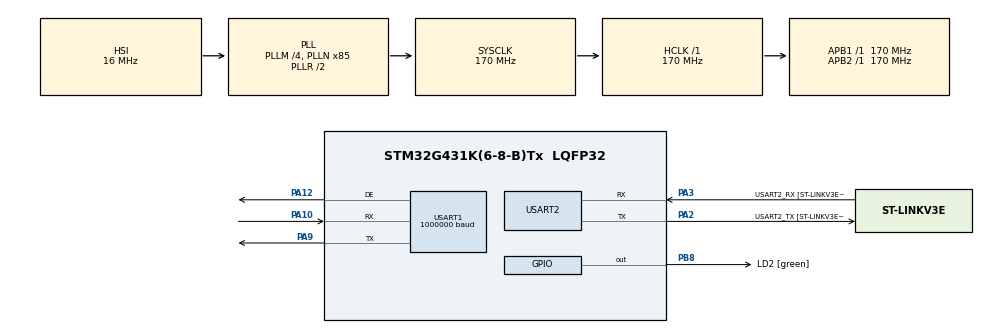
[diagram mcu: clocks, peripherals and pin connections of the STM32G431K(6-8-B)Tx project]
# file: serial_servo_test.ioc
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Mcu.Family=STM32G4
Mcu.Name=STM32G431K(6-8-B)Tx
Mcu.Package=LQFP32
NVIC.PriorityGroup=NVIC_PRIORITYGROUP_4
NVIC.USART2_IRQn=true\:0\:0\:false\:false\:true\:true\:true\:true
PA10.Mode=Asynchronous
PA10.Signal=USART1_RX
PA12.Mode=Hardware Flow Control (RS485)
PA12.Signal=USART1_DE
PA13.GPIO_Label=T_SWDIO
PA13.Mode=Serial_Wire
PA13.Signal=SYS_JTMS-SWDIO
PA14.GPIO_Label=T_SWCLK
PA14.Mode=Serial_Wire
PA14.Signal=SYS_JTCK-SWCLK
PA2.GPIO_Label=USART2_TX [ST-LINKV3E_VCP_RX]
PA2.Mode=Asynchronous
PA2.Signal=USART2_TX
PA3.GPIO_Label=USART2_RX [ST-LINKV3E_VCP_TX]
PA3.Mode=Asynchronous
PA3.Signal=USART2_RX
PA9.Mode=Asynchronous
PA9.Signal=USART1_TX
PB3.GPIO_Label=T_SWO
PB3.Signal=SYS_JTDO-SWO
PB8-BOOT0.GPIO_Label=LD2 [green]
PB8-BOOT0.Signal=GPIO_Output
ProjectManager.HeapSize=0x200
ProjectManager.StackSize=0x400
ProjectManager.TargetToolchain=STM32CubeIDE
RCC.ADC12Freq_Value=170000000
RCC.AHBFreq_Value=170000000
RCC.APB1Freq_Value=170000000
RCC.APB1TimFreq_Value=170000000
RCC.APB2Freq_Value=170000000
RCC.APB2TimFreq_Value=170000000
RCC.CortexFreq_Value=170000000
RCC.EXTERNAL_CLOCK_VALUE=12288000
RCC.HCLKFreq_Value=170000000
RCC.HSE_VALUE=8000000
RCC.HSI48_VALUE=48000000
RCC.HSI_VALUE=16000000
RCC.LSE_VALUE=32768
RCC.PLLM=RCC_PLLM_DIV4
RCC.PLLN=85
RCC.SYSCLKFreq_VALUE=170000000
RCC.SYSCLKSource=RCC_SYSCLKSOURCE_PLLCLK
RCC.USBFreq_Value=170000000
RCC.VCOOutputFreq_Value=340000000
USART1.BaudRate=1000000
USART1.VirtualMode-Asynchronous=VM_ASYNC
USART1.VirtualMode-Hardware\ Flow\ Control\ (RS485)=VM_ASYNC
USART2.VirtualMode-Asynchronous=VM_ASYNC
USART2.WordLength=WORDLENGTH_8B
board=NUCLEO-G431KB

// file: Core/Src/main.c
/* USER CODE BEGIN Header */
/**
  ******************************************************************************
  * @file           : main.c
  * @brief          : Main program body
  ******************************************************************************
  * @attention
  *
  * Copyright (c) 2023 STMicroelectronics.
  * All rights reserved.
  *
  * This software is licensed under terms that can be found in the LICENSE file
  * in the root directory of this software component.
  * If no LICENSE file comes with this software, it is provided AS-IS.
  *
  ******************************************************************************
  */
/* USER CODE END Header */
#include "main.h"

/* USER CODE BEGIN Includes */
#include "STS3215.h"
#include "mytools.h"

#include "stdlib.h"
/* USER CODE END Includes */

/* USER CODE BEGIN PD */
#define OFFSET 10
/* USER CODE END PD */

UART_HandleTypeDef huart1;
UART_HandleTypeDef huart2;

/* USER CODE BEGIN PV */
#define UARTRxBufLEN 4
uint8_t buffer[UARTRxBufLEN];
/* USER CODE END PV */

void SystemClock_Config(void);
static void MX_GPIO_Init(void);
static void MX_USART1_UART_Init(void);
static void MX_USART2_UART_Init(void);
/* USER CODE BEGIN PFP */

void open();
void close();
void rotate(int angle);

/* USER CODE END PFP */

int main(void)
{

  /* MCU Configuration--------------------------------------------------------*/

  /* Reset of all peripherals, Initializes the Flash interface and the Systick. */
  HAL_Init();

  /* Configure the system clock */
  SystemClock_Config();

  /* Initialize all configured peripherals */
  MX_GPIO_Init();
  MX_USART1_UART_Init();
  MX_USART2_UART_Init();

  /* Infinite loop */
  /* USER CODE BEGIN WHILE */
//  set_ID(&huart1, 0x02, 0x01);
  HAL_Delay(1);
  read_address(&huart1, 1, 0x37, 0x01);
  HAL_UART_Receive_IT(&huart2, buffer, UARTRxBufLEN);

// servo wo genten no ichi ni motte iku

  step_control(&huart1, 1, 0, 0x00,  0x00);
  HAL_Delay(2);
  step_control(&huart1, 2, 0, 0x00,  0x00);
  HAL_Delay(2);

  while (1)
  {
//    open();
//    HAL_Delay(1000);
//    close();
//    HAL_Delay(1000);

    /* USER CODE END WHILE */

  }
}

void SystemClock_Config(void)
{
  RCC_OscInitTypeDef RCC_OscInitStruct = {0};
  RCC_ClkInitTypeDef RCC_ClkInitStruct = {0};

  /** Configure the main internal regulator output voltage
  */
  HAL_PWREx_ControlVoltageScaling(PWR_REGULATOR_VOLTAGE_SCALE1_BOOST);

  /** Initializes the RCC Oscillators according to the specified parameters
  * in the RCC_OscInitTypeDef structure.
  */
  RCC_OscInitStruct.OscillatorType = RCC_OSCILLATORTYPE_HSI;
  RCC_OscInitStruct.HSIState = RCC_HSI_ON;
  RCC_OscInitStruct.HSICalibrationValue = RCC_HSICALIBRATION_DEFAULT;
  RCC_OscInitStruct.PLL.PLLState = RCC_PLL_ON;
  RCC_OscInitStruct.PLL.PLLSource = RCC_PLLSOURCE_HSI;
  RCC_OscInitStruct.PLL.PLLM = RCC_PLLM_DIV4;
  RCC_OscInitStruct.PLL.PLLN = 85;
  RCC_OscInitStruct.PLL.PLLP = RCC_PLLP_DIV2;
  RCC_OscInitStruct.PLL.PLLQ = RCC_PLLQ_DIV2;
  RCC_OscInitStruct.PLL.PLLR = RCC_PLLR_DIV2;
  if (HAL_RCC_OscConfig(&RCC_OscInitStruct) != HAL_OK)
  {
    Error_Handler();
  }

  /** Initializes the CPU, AHB and APB buses clocks
  */
  RCC_ClkInitStruct.ClockType = RCC_CLOCKTYPE_HCLK|RCC_CLOCKTYPE_SYSCLK
                              |RCC_CLOCKTYPE_PCLK1|RCC_CLOCKTYPE_PCLK2;
  RCC_ClkInitStruct.SYSCLKSource = RCC_SYSCLKSOURCE_PLLCLK;
  RCC_ClkInitStruct.AHBCLKDivider = RCC_SYSCLK_DIV1;
  RCC_ClkInitStruct.APB1CLKDivider = RCC_HCLK_DIV1;
  RCC_ClkInitStruct.APB2CLKDivider = RCC_HCLK_DIV1;

  if (HAL_RCC_ClockConfig(&RCC_ClkInitStruct, FLASH_LATENCY_4) != HAL_OK)
  {
    Error_Handler();
  }
}

static void MX_USART1_UART_Init(void)
{

  huart1.Instance = USART1;
  huart1.Init.BaudRate = 1000000;
  huart1.Init.WordLength = UART_WORDLENGTH_8B;
  huart1.Init.StopBits = UART_STOPBITS_1;
  huart1.Init.Parity = UART_PARITY_NONE;
  huart1.Init.Mode = UART_MODE_TX_RX;
  huart1.Init.HwFlowCtl = UART_HWCONTROL_NONE;
  huart1.Init.OverSampling = UART_OVERSAMPLING_16;
  huart1.Init.OneBitSampling = UART_ONE_BIT_SAMPLE_DISABLE;
  huart1.Init.ClockPrescaler = UART_PRESCALER_DIV1;
  huart1.AdvancedInit.AdvFeatureInit = UART_ADVFEATURE_NO_INIT;
  if (HAL_RS485Ex_Init(&huart1, UART_DE_POLARITY_HIGH, 0, 0) != HAL_OK)
  {
    Error_Handler();
  }
  if (HAL_UARTEx_SetTxFifoThreshold(&huart1, UART_TXFIFO_THRESHOLD_1_8) != HAL_OK)
  {
    Error_Handler();
  }
  if (HAL_UARTEx_SetRxFifoThreshold(&huart1, UART_RXFIFO_THRESHOLD_1_8) != HAL_OK)
  {
    Error_Handler();
  }
  if (HAL_UARTEx_DisableFifoMode(&huart1) != HAL_OK)
  {
    Error_Handler();
  }

}

static void MX_USART2_UART_Init(void)
{

  huart2.Instance = USART2;
  huart2.Init.BaudRate = 115200;
  huart2.Init.WordLength = UART_WORDLENGTH_8B;
  huart2.Init.StopBits = UART_STOPBITS_1;
  huart2.Init.Parity = UART_PARITY_NONE;
  huart2.Init.Mode = UART_MODE_TX_RX;
  huart2.Init.HwFlowCtl = UART_HWCONTROL_NONE;
  huart2.Init.OverSampling = UART_OVERSAMPLING_16;
  huart2.Init.OneBitSampling = UART_ONE_BIT_SAMPLE_DISABLE;
  huart2.Init.ClockPrescaler = UART_PRESCALER_DIV1;
  huart2.AdvancedInit.AdvFeatureInit = UART_ADVFEATURE_NO_INIT;
  if (HAL_UART_Init(&huart2) != HAL_OK)
  {
    Error_Handler();
  }
  if (HAL_UARTEx_SetTxFifoThreshold(&huart2, UART_TXFIFO_THRESHOLD_1_8) != HAL_OK)
  {
    Error_Handler();
  }
  if (HAL_UARTEx_SetRxFifoThreshold(&huart2, UART_RXFIFO_THRESHOLD_1_8) != HAL_OK)
  {
    Error_Handler();
  }
  if (HAL_UARTEx_DisableFifoMode(&huart2) != HAL_OK)
  {
    Error_Handler();
  }

}

static void MX_GPIO_Init(void)
{
  GPIO_InitTypeDef GPIO_InitStruct = {0};

  /* GPIO Ports Clock Enable */
  __HAL_RCC_GPIOA_CLK_ENABLE();
  __HAL_RCC_GPIOB_CLK_ENABLE();

  /*Configure GPIO pin Output Level */
  HAL_GPIO_WritePin(LD2_GPIO_Port, LD2_Pin, GPIO_PIN_RESET);

  /*Configure GPIO pin : LD2_Pin */
  GPIO_InitStruct.Pin = LD2_Pin;
  GPIO_InitStruct.Mode = GPIO_MODE_OUTPUT_PP;
  GPIO_InitStruct.Pull = GPIO_NOPULL;
  GPIO_InitStruct.Speed = GPIO_SPEED_FREQ_LOW;
  HAL_GPIO_Init(LD2_GPIO_Port, &GPIO_InitStruct);

}

/* USER CODE BEGIN 4 */
void HAL_UART_RxCpltCallback(UART_HandleTypeDef *huart) {
  if (huart -> Instance == USART2) {

/* for testing */

//    float number = atof(buffer);
//
//    int id = (int)(number / 1000);
//
//    HAL_GPIO_TogglePin(LD2_GPIO_Port, LD2_Pin);
//    int angle = deg_to_num(((int)number)%1000);
//    step_control(&huart1, id, angle, 0x00,  0x00);
//    HAL_UART_Receive_IT(&huart2, buffer, UARTRxBufLEN);

  }
}

void open() {
  step_control(&huart1, 1, deg_to_num(0), 0x00,  0x00);
}

void close() {
  step_control(&huart1, 1, deg_to_num(92), 0x00,  0x00);
}

void rotate(int angle) {
//  hand no kaiten
// angle no unit : degree
  step_control(&huart1, 2, deg_to_num(angle+OFFSET), 0x00,  0x00);
}

/* USER CODE END 4 */

void Error_Handler(void)
{
  __disable_irq();
  while (1)
  {
  }
}
